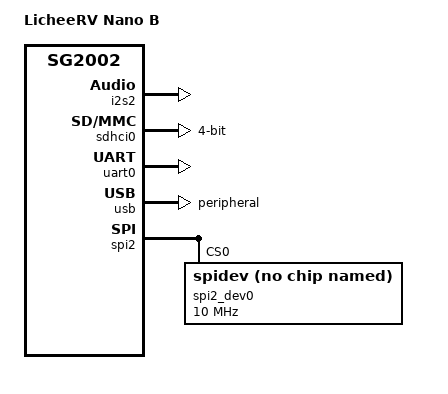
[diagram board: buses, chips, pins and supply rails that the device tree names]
// SPDX-License-Identifier: (GPL-2.0 OR MIT)
/*
* Copyright (C) 2024 Thomas Bonnefille <thomas.bonnefille@bootlin.com>
*/

/dts-v1/;

#include "sg2002.dtsi"

/ {
	model = "LicheeRV Nano B";
	compatible = "sipeed,licheerv-nano-b", "sipeed,licheerv-nano", "sophgo,sg2002";
	
	aliases {
		gpio0 = &gpio0;
		gpio1 = &gpio1;
		gpio2 = &gpio2;
		gpio3 = &gpio3;
		serial0 = &uart0;
		serial1 = &uart1;
		serial2 = &uart2;
		serial3 = &uart3;
		serial4 = &uart4;
	};
	
	chosen {
		stdout-path = "serial0:115200n8";
	};
};

&osc {
	clock-frequency = <25000000>;
};

&pinctrl {
	uart0_cfg: uart0-cfg {
		uart0-pins {
			pinmux = <PINMUX(PIN_UART0_TX, 0)>,
			<PINMUX(PIN_UART0_RX, 0)>;
			bias-pull-up;
			drive-strength-microamp = <10800>;
			power-source = <3300>;
		};
	};
	
	sdhci0_cfg: sdhci0-cfg {
		sdhci0-clk-pins {
			pinmux = <PINMUX(PIN_SD0_CLK, 0)>;
			bias-pull-up;
			drive-strength-microamp = <16100>;
			power-source = <3300>;
		};
		
		sdhci0-cmd-pins {
			pinmux = <PINMUX(PIN_SD0_CMD, 0)>;
			bias-pull-up;
			drive-strength-microamp = <10800>;
			power-source = <3300>;
		};
		
		sdhci0-data-pins {
			pinmux = <PINMUX(PIN_SD0_D0, 0)>,
			<PINMUX(PIN_SD0_D1, 0)>,
			<PINMUX(PIN_SD0_D2, 0)>,
			<PINMUX(PIN_SD0_D3, 0)>;
			bias-pull-up;
			drive-strength-microamp = <10800>;
			power-source = <3300>;
		};
		
		sdhci0-cd-pins {
			pinmux = <PINMUX(PIN_SD0_CD, 0)>;
			bias-pull-up;
			drive-strength-microamp = <10800>;
			power-source = <3300>;
		};
	};
	spi2_cfg: spi2_cfg{
		spi2-pins {
			pinmux = <PINMUX(PIN_SD1_CLK, 1)>,  /* GP6  -> SPI2_SCK  */
			<PINMUX(PIN_SD1_CMD, 1)>,  /* GP7  -> SPI2_MOSI */
			<PINMUX(PIN_SD1_D0,  1)>,  /* GP8  -> SPI2_MISO */
			<PINMUX(PIN_SD1_D3,  1)>;  /* GP9  -> SPI2_CS   */
			
			// bias-disable;
			drive-strength-microamp = <10800>;
			power-source = <3300>;
		};
	};
	
	
};

&sdhci0 {
	pinctrl-0 = <&sdhci0_cfg>;
	pinctrl-names = "default";
	status = "okay";
	bus-width = <4>;
	no-1-8-v;
	no-mmc;
	no-sdio;
	disable-wp;
};

&uart0 {
	pinctrl-0 = <&uart0_cfg>;
	pinctrl-names = "default";
	status = "okay";
};

&usb {
	dr_mode = "peripheral";
	status = "okay";
	vbus-gpio = <&portb 6 0>;
	g-rx-fifo-size = <1536>;
	g-tx-fifo-size = <128 128 64 64 64 64 32 32>;
};

&spi2 {
	status = "okay";
	pinctrl-0 = <&spi2_cfg>;
	pinctrl-names = "default";
	num-cs = <1>;
	spi2_dev0: spidev@0 {
		compatible = "rohm,dh2228fv";
		reg = <0>;
		spi-max-frequency = <10000000>;
	};
	
};

&dmac {
	status = "okay";
};
&dmamux {
	status = "okay";
};
&pinctrl {
	i2s2_cfg: i2s2_cfg{
		i2s2-out {
			pinmux = <PINMUX(PIN_ETH_TXM, 7)>,
			<PINMUX(PIN_ETH_RXP,  7)>,
			<PINMUX(PIN_ETH_RXM,  7)>;
			
			bias-disable;
			drive-strength-microamp = <15700>;
			power-source = <1800>;
		};
		i2s2-in {
			pinmux = <PINMUX(PIN_ETH_TXP, 7)>;
			
			// bias-disable;
			// drive-strength-microamp = <10800>;
			power-source = <1800>;
		};
	};
};
/*
in the base file

*/
/ {
	i2s2: i2s@4120000 {
		compatible = "cvitek,cv1835-i2s";
		reg = <0x04120000 0x10000>;
		#address-cells = <1>;
		#size-cells = <0>;
		status = "disabled";
	};
	soc {
		aiao: audio-syscon@4108000 {
			compatible = "sophgo,sg2002-aiao", "syscon";
			reg = <0x04108000 0x1000>;
		};
	};
};
&i2s2 {
	pinctrl-0 = <&i2s2_cfg>;
	pinctrl-names = "default";
	#sound-dai-cells = <0>;
	dmas = <&dmamux 5 1>;
	dma-names = "tx";
	capability = "tx";
	mclk_out = "false";// todo: ignored for the moment
	clocks = <&clk CLK_APB_I2S2>,  <&clk CLK_SDMA_AUD2>;
	clock-names = "i2s", "mclk";
	status = "okay";
	aiao = <&aiao>;
	aiao,tdm-id = <2>;
	assigned-clocks = <&clk CLK_SDMA_AUD2>;
	assigned-clock-rates = <49152000>;   /* 12.288 MHz requested */
	
	#sound-dai-cells = <0>;
};
/ {
	codec0: dummy-codec {
		compatible = "sg2002,dummy-codec";
		#sound-dai-cells = <0>;
	};
	sound {
		compatible = "simple-audio-card";
		simple-audio-card,name = "sg2002-i2s";
		simple-audio-card,format = "i2s";
		simple-audio-card,bitclock-master = <&sound_cpu>;
		simple-audio-card,frame-master = <&sound_cpu>;
		
		
		sound_cpu: simple-audio-card,cpu {
			sound-dai = <&i2s2>;
		};
		
		simple-audio-card,codec {
			sound-dai = <&codec0>;// real codec node, or whatever you have
		};
		
		
	};
};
